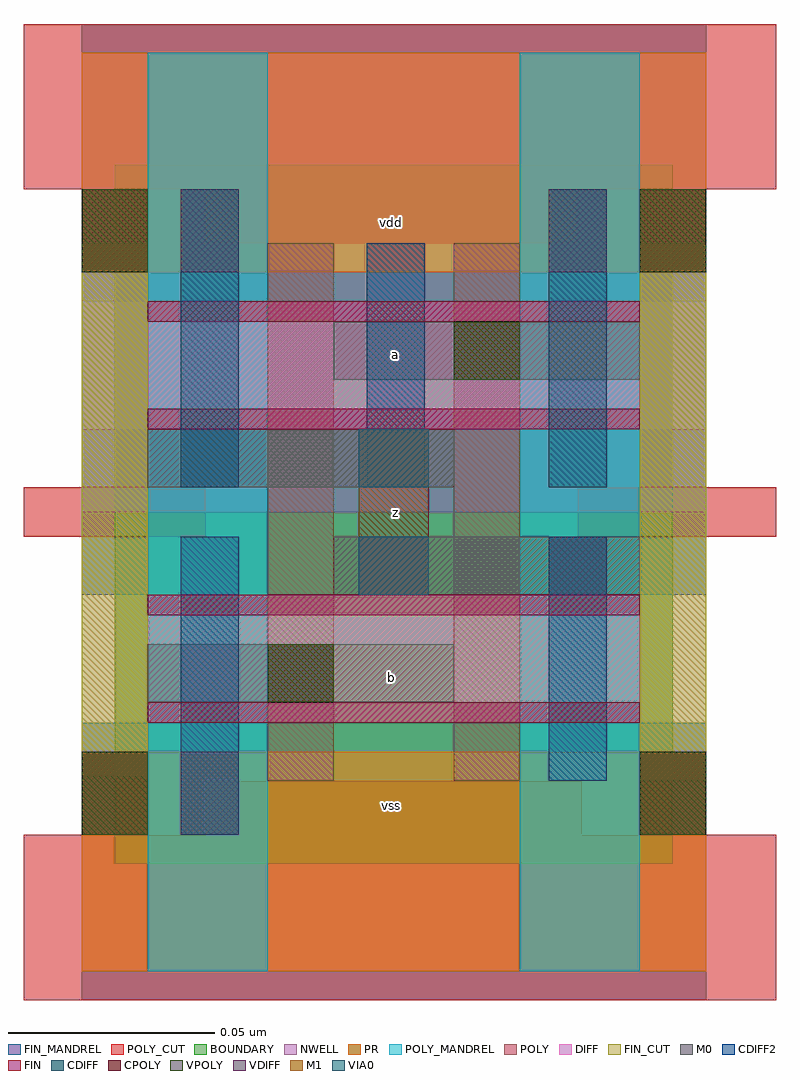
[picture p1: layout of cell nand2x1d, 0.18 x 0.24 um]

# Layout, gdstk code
import gdstk
lib = gdstk.Library(unit=1e-6, precision=1e-11)
def R(c, l, rs):  # rectangles x0, y0, x1, y1
    for r in rs: c.add(gdstk.rectangle(r[:2], r[2:], *l))
BOUNDARY = (1, 0)
NWELL = (5, 1)
DIFF = (7, 7)
FIN = (7, 8)
FIN_MANDREL = (7, 10)
FIN_CUT = (7, 50)
POLY = (9, 7)
POLY_MANDREL = (9, 10)
POLY_CUT = (9, 50)
CPOLY = (9, 100)
VPOLY = (9, 135)
VDIFF = (10, 0)
CDIFF = (10, 1)
CDIFF2 = (10, 2)
VIA0 = (20, 0)
M0 = (30, 0)
PR = (30, 1)
M1 = (50, 0)

nand2x1d = lib.new_cell('nand2x1d')
R(nand2x1d, BOUNDARY, [(-0.008,0,0.127,0.169)])
R(nand2x1d, NWELL, [(-0.016,0.085,0.135,0.196)])
R(nand2x1d, DIFF, [(0,0.034,0.119,0.065), (0,0.105,0.119,0.136)])
R(nand2x1d, FIN, [(0,0.034,0.119,0.039), (0,0.06,0.119,0.065), (0,0.105,0.119,0.11), (0,0.131,0.119,0.136)])
R(nand2x1d, FIN_MANDREL, [(-0.016,-0.033,0.135,0.034), (-0.016,0.065,0.135,0.105), (-0.016,0.136,0.135,0.203)])
R(nand2x1d, FIN_CUT, [(0.119,0.02,0.135,0.15), (-0.016,0.021,0,0.15)])
R(nand2x1d, POLY, [(-0.016,0.007,0,0.079), (0.119,0.007,0.135,0.079), (0.029,0.02,0.045,0.15), (0.074,0.02,0.09,0.15), (-0.016,0.091,0,0.163), (0.119,0.091,0.135,0.163)])
R(nand2x1d, POLY_MANDREL, [(0,-0.026,0.029,0.196), (0.09,-0.026,0.119,0.196)])
R(nand2x1d, POLY_CUT, [(-0.03,-0.033,0.152,0.007), (0.014,-0.026,0.105,0.02), (-0.03,0.079,0.014,0.091), (0.104,0.079,0.152,0.091), (0.014,0.15,0.104,0.196), (-0.03,0.163,0.152,0.203)])
R(nand2x1d, CPOLY, [(-0.016,0.007,0,0.027), (0.119,0.007,0.135,0.027), (0.029,0.039,0.045,0.053), (0.074,0.117,0.09,0.131), (-0.016,0.143,0,0.163), (0.119,0.143,0.135,0.163)])
R(nand2x1d, VPOLY, [(-0.016,0.007,0,0.027), (0.119,0.007,0.135,0.027), (0.029,0.039,0.045,0.053), (0.074,0.117,0.09,0.131), (-0.016,0.143,0,0.163), (0.119,0.143,0.135,0.163)])
R(nand2x1d, VDIFF, [(0.008,0.007,0.022,0.027), (0.097,0.065,0.111,0.079), (0.053,0.091,0.067,0.105), (0.008,0.143,0.022,0.163), (0.097,0.143,0.111,0.163)])
R(nand2x1d, CDIFF, [(0.008,0.091,0.022,0.163), (0.097,0.091,0.111,0.163)])
R(nand2x1d, CDIFF2, [(0.008,0.007,0.022,0.079), (0.097,0.02,0.111,0.079), (0.053,0.091,0.067,0.15)])
R(nand2x1d, VIA0, [(0.051,0.065,0.068,0.079), (0.051,0.091,0.068,0.105)])
R(nand2x1d, M0, [(0,0.039,0.074,0.053), (0.045,0.065,0.119,0.079), (0,0.091,0.074,0.105), (0.045,0.117,0.119,0.131)])
R(nand2x1d, PR, [(-0.016,-0.026,0.135,0.027), (-0.016,0.143,0.135,0.196)])
R(nand2x1d, M1, [(0.051,0.065,0.068,0.105)])
nand2x1d.add(gdstk.Label('vss', (0.059,0.014), layer=30, texttype=2))
nand2x1d.add(gdstk.Label('vdd', (0.059,0.155), layer=30, texttype=2))
nand2x1d.add(gdstk.Label('vss', (0.059,0.014), layer=30, texttype=12))
nand2x1d.add(gdstk.Label('vdd', (0.059,0.155), layer=30, texttype=12))
nand2x1d.add(gdstk.Label('b', (0.059,0.045), layer=30, texttype=12))
nand2x1d.add(gdstk.Label('a', (0.06,0.123), layer=30, texttype=12))
nand2x1d.add(gdstk.Label('z', (0.06,0.085), layer=50, texttype=12))

lib.write_gds('nand2x1d.gds')
